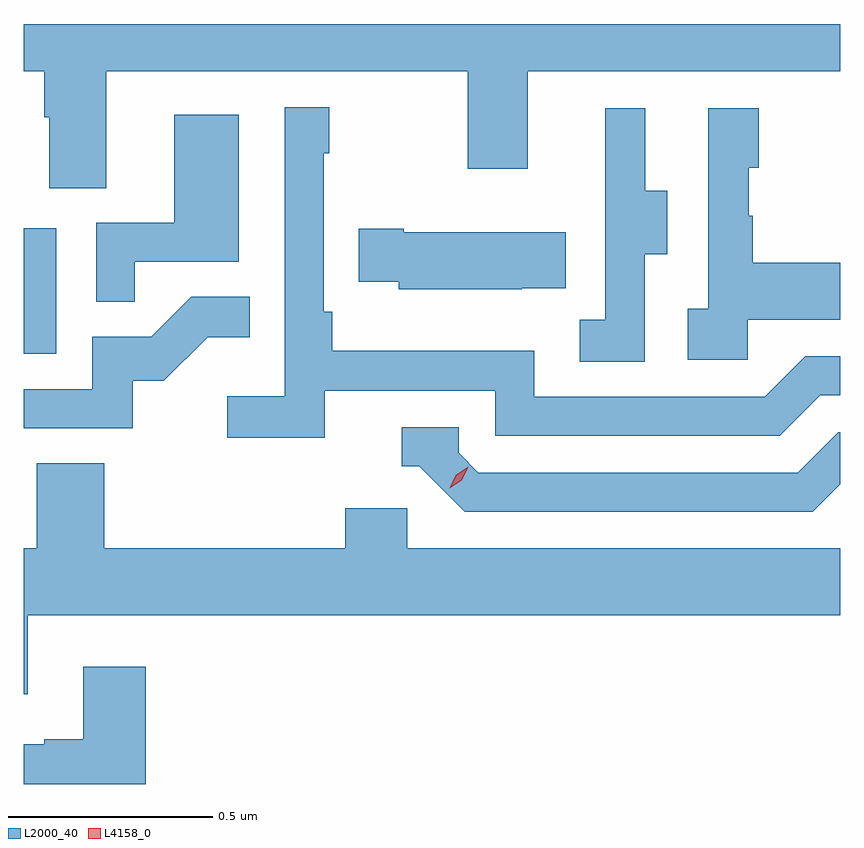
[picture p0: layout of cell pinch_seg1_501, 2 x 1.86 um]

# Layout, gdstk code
import gdstk
lib = gdstk.Library(unit=1e-6, precision=1e-09)
def R(c, l, rs):  # rectangles x0, y0, x1, y1
    for r in rs: c.add(gdstk.rectangle(r[:2], r[2:], *l))
def P(c, l, *ps):  # polygons
    for p in ps: c.add(gdstk.Polygon(p, *l))
L2000_40 = (2000, 40)
L4158_0 = (4158, 0)

pinch_seg1_501 = lib.new_cell('pinch_seg1_501')
R(pinch_seg1_501, L2000_40, [(1106.241,528.396,1106.32,528.703)])
P(pinch_seg1_501, L2000_40, [(1106.443,529.088),(1107.328,529.088),(1107.328,528.849),(1107.475,528.849),(1107.475,529.088),(1108.241,529.088),(1108.241,529.204),(1106.241,529.204),(1106.241,529.088),(1106.291,529.088),(1106.291,528.976),(1106.303,528.976),(1106.303,528.802),(1106.443,528.802)],
  [(1106.978,528.306),(1107.396,528.306),(1107.396,528.195),(1108.093,528.195),(1108.192,528.294),(1108.241,528.294),(1108.241,528.39),(1108.155,528.39),(1108.056,528.291),(1107.492,528.291),(1107.492,528.403),(1106.996,528.403),(1106.996,528.499),(1106.976,528.499),(1106.976,528.887),(1106.989,528.887),(1106.989,529),(1106.88,529),(1106.88,528.292),(1106.739,528.292),(1106.739,528.19),(1106.978,528.19)],
  [(1107.762,528.64),(1107.817,528.64),(1107.817,528.795),(1107.763,528.795),(1107.763,528.997),(1107.665,528.997),(1107.665,528.783),(1107.666,528.783),(1107.666,528.479),(1107.603,528.479),(1107.603,528.376),(1107.762,528.376)],
  [(1108.014,528.479),(1108.241,528.479),(1108.241,528.619),(1108.027,528.619),(1108.027,528.734),(1108.017,528.734),(1108.017,528.852),(1108.042,528.852),(1108.042,528.997),(1107.918,528.997),(1107.918,528.506),(1107.867,528.506),(1107.867,528.381),(1108.014,528.381)],
  [(1106.513,528.621),(1106.767,528.621),(1106.767,528.982),(1106.609,528.982),(1106.609,528.717),(1106.418,528.717),(1106.418,528.523),(1106.513,528.523)],
  [(1107.461,528.557),(1107.569,528.557),(1107.569,528.694),(1107.172,528.694),(1107.172,528.702),(1107.061,528.702),(1107.061,528.572),(1107.159,528.572),(1107.159,528.554),(1107.461,528.554)],
  [(1106.508,528.33),(1106.584,528.33),(1106.691,528.437),(1106.795,528.437),(1106.795,528.536),(1106.651,528.536),(1106.553,528.438),(1106.409,528.438),(1106.409,528.309),(1106.241,528.309),(1106.241,528.213),(1106.508,528.213)],
  [(1108.241,528.076),(1108.241,528.204),(1108.236,528.204),(1108.137,528.105),(1107.354,528.105),(1107.306,528.153),(1107.306,528.216),(1107.167,528.216),(1107.167,528.12),(1107.21,528.12),(1107.321,528.009),(1108.174,528.009)],
  [(1106.251,527.756),(1108.241,527.756),(1108.241,527.92),(1107.18,527.92),(1107.18,528.018),(1107.029,528.018),(1107.029,527.92),(1106.438,527.92),(1106.438,528.128),(1106.273,528.128),(1106.273,527.92),(1106.241,527.92),(1106.241,527.562),(1106.251,527.562)],
  [(1106.54,527.629),(1106.387,527.629),(1106.387,527.452),(1106.291,527.452),(1106.291,527.439),(1106.241,527.439),(1106.241,527.342),(1106.54,527.342)])
P(pinch_seg1_501, L4158_0, [(1107.284,528.066),(1107.284,528.066),(1107.299,528.099),(1107.33,528.119),(1107.33,528.119),(1107.33,528.119),(1107.314,528.086),(1107.284,528.066)])

lib.write_gds('pinch_seg1_501.gds')
